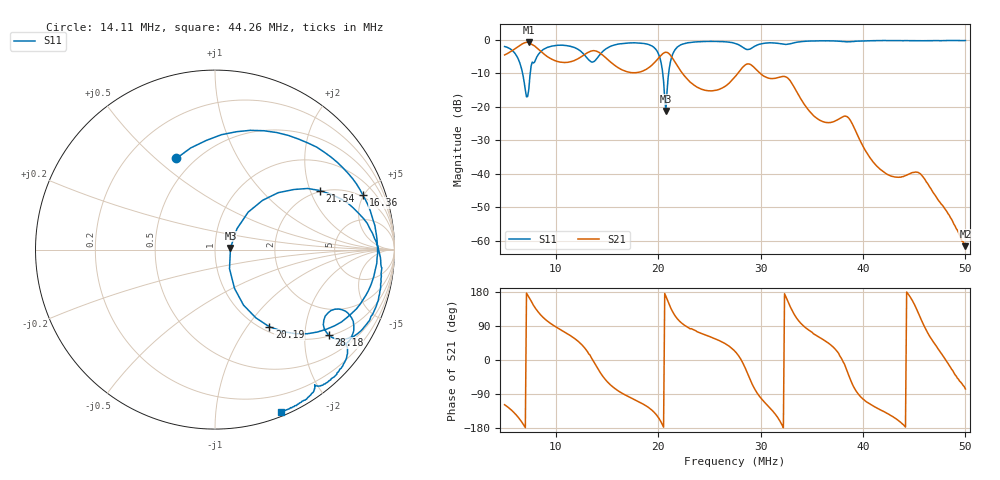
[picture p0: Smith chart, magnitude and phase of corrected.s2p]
! S11/S21 only; reverse parameters are placeholders. Device calibration unverified.
! [Saver CAL applied] C:\Users\aknya\MyProjects\rf-simulator\calibration2.cal | Ideal standards assumed | Input: NanoVNA F V2 profile | COM3 | 2026-09-08T11:15:00.2101920-04:00 | device calibration unverified
# HZ S RI R 50
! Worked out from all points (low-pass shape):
!   401 points, 5 MHz to 50 MHz, reference 50 ohm
!   highest |S21| = -0.67 dB at 7.362 MHz (marker M1); lowest = -61.7 dB at 50 MHz (marker M2)
!   |S21| within 3 dB of the highest: 5.501 MHz to 8.627 MHz (3.126 MHz wide, 44.2 % of centre); 13.19 MHz to 14.19 MHz (1 MHz wide, 7.31 % of centre)
!   lowest |S11| = -21.2 dB at 20.75 MHz (marker M3), VSWR 1.19, Z = 59.4 + j1.15 ohm
!   |S11| at or under -10 dB: 6.756 MHz to 7.502 MHz (746.6 kHz wide, 10.5 % of centre); 20.44 MHz to 21.02 MHz (577.8 kHz wide, 2.79 % of centre)
!   S12 and S22 are empty: the file has one direction only
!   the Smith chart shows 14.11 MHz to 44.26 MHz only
!   S11 on the Smith chart (normalised r, x): 14.11 MHz: 0.40, +0.59; 16.36 MHz: 1.86, +4.92; 20.19 MHz: 1.08, -1.28; 21.54 MHz: 1.96, +2.34; 28.18 MHz: 1.03, -2.64; 44.26 MHz: 0.04, -1.49
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5000000  0.7175 -0.3474  -0.2807 -0.5271  0 0  0 0
7362500  0.1729 0.0582  -0.8988 0.2211  0 0  0 0
9950000  0.7893 -0.2372  0.0149 0.4881  0 0  0 0
1.25375e7  -0.0209 -0.6561  0.4316 0.3677  0 0  0 0
1.34375e7  -0.4655 -0.0755  0.6755 0.0903  0 0  0 0
1.41125e7  -0.2145 0.5083  0.6093 -0.2644  0 0  0 0
1.63625e7  0.8236 0.3039  0.0255 -0.3631  0 0  0 0
1.8725e7  0.8421 -0.2522  -0.1754 -0.3108  0 0  0 0
2.0075e7  0.3782 -0.4559  -0.4895 -0.2386  0 0  0 0
2.01875e7  0.3026 -0.4297  -0.5314 -0.2034  0 0  0 0
2.075e7  0.0863 0.00963  -0.6409 0.1342  0 0  0 0
2.15375e7  0.5843 0.3291  -0.2571 0.4216  0 0  0 0
2.44625e7  0.9215 -0.2221  0.0683 0.1652  0 0  0 0
2.75e7  0.7381 -0.4957  0.2579 0.1087  0 0  0 0
2.8175e7  0.6335 -0.4759  0.3782 -0.0205  0 0  0 0
2.93e7  0.7084 -0.3353  0.1331 -0.3746  0 0  0 0
3.21125e7  0.6916 -0.5271  -0.2814 -0.0377  0 0  0 0
3.50375e7  0.7037 -0.6606  0.0228 0.0744  0 0  0 0
3.8525e7  0.5554 -0.7541  0.0574 -0.0398  0 0  0 0
4.2575e7  0.4354 -0.8759  -0.00766 -0.00556  0 0  0 0
4.42625e7  0.368 -0.9031  -0.00953 0.000102  0 0  0 0
5e7  0.1578 -0.9673  0.000192 -0.000803  0 0  0 0
